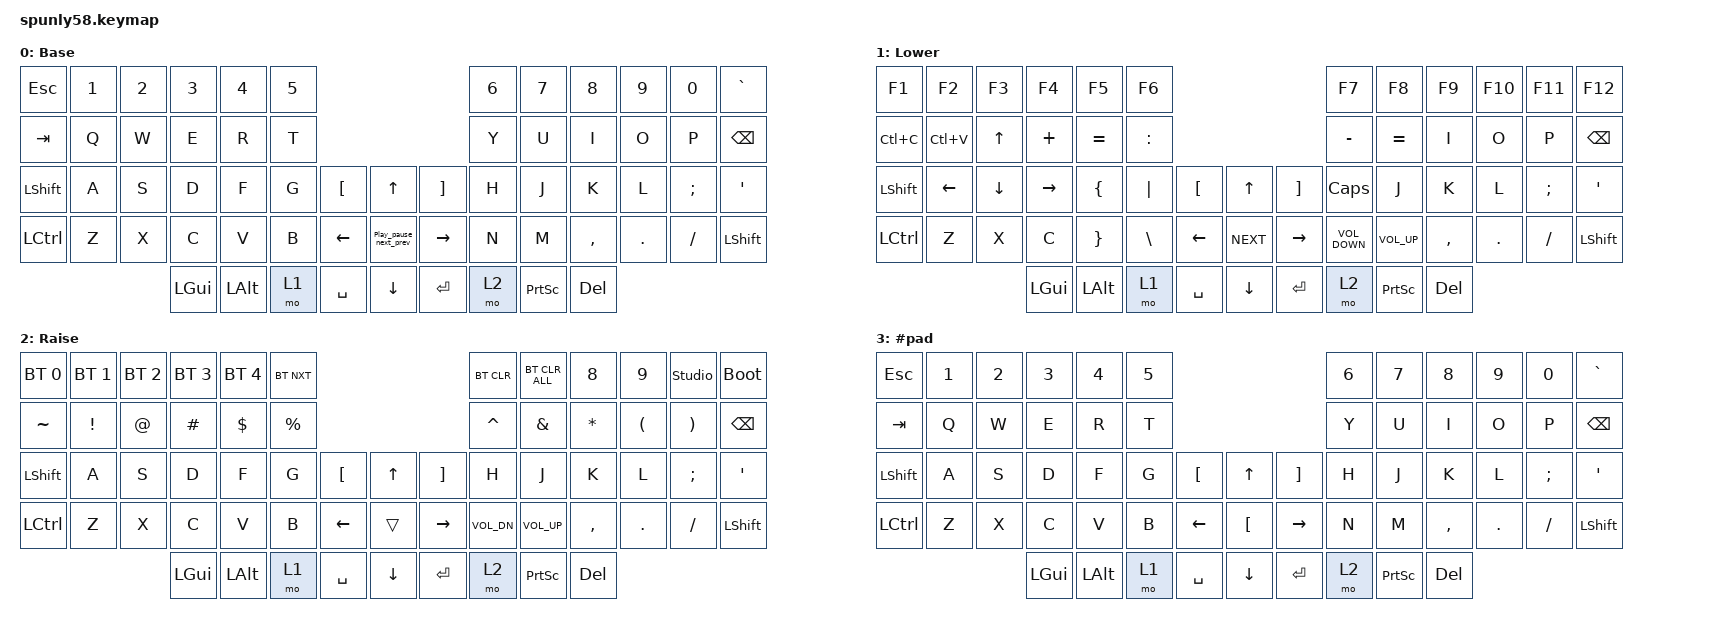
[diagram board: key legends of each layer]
/*
 * Copyright (c) 2020 The ZMK Contributors
 *
 * SPDX-License-Identifier: MIT
 */

#include <behaviors.dtsi>
#include <dt-bindings/zmk/bt.h>
#include <dt-bindings/zmk/keys.h>

#define DEFAULT 0
#define LOWER   1
#define RAISE   2
#define NUMPAD  3

/ {
    behaviors {
        Play_pause_next_prev: Play_pause_next_prev {
            compatible = "zmk,behavior-tap-dance";
            label = "PLAY_PAUSE_NEXT_PREV";
            #binding-cells = <0>;
            bindings = <&kp C_PLAY_PAUSE>, <&kp C_NEXT>, <&kp C_PREV>;
        };
    };

    keymap {
        compatible = "zmk,keymap";

        default_layer {
            label = "Base";

            // ------------------------------------------------------------------------------------------------------------
            // |  ESC   |  1  |  2  |  3   |  4   |  5   |                        |  6   |  7    |  8    |  9   |   0   |   `   |
            // |  TAB   |  Q  |  W  |  E   |  R   |  T   |                        |  Y   |  U    |  I    |  O   |   P   | BSPC  |
            // |  LSHFT |  A  |  S  |  D   |  F   |  G   | "["  |  UP   |  "]"    |  H   |  J    |  K    |  L   |   ;   |   '   |
            // |  CTRL  |  Z  |  X  |  C   |  V   |  B   | LEFT |  PP   | RGHT    |  N   |  M    |  ,    |  .   |   /   | LSHFT |
            //                    | GUI  | ALT  | LOWER|  SPACE | DOWN  | ENT | RAISE| PSCRN |  DEL   |

            bindings = <
&kp ESC    &kp N1  &kp N2  &kp N3    &kp N4    &kp N5                                               &kp N6  &kp N7     &kp N8     &kp N9   &kp N0    &kp GRAVE
&kp TAB    &kp Q   &kp W   &kp E     &kp R     &kp T                                                &kp Y   &kp U      &kp I      &kp O    &kp P     &kp BSPC
&kp LSHFT  &kp A   &kp S   &kp D     &kp F     &kp G   &kp LBKT   &kp UP                 &kp RBKT   &kp H   &kp J      &kp K      &kp L    &kp SEMI  &kp SQT
&kp LCTRL  &kp Z   &kp X   &kp C     &kp V     &kp B   &kp LEFT   &Play_pause_next_prev  &kp RIGHT  &kp N   &kp M      &kp COMMA  &kp DOT  &kp FSLH  &kp LSHFT
                           &kp LGUI  &kp LALT  &mo 1   &kp SPACE  &kp DOWN               &kp ENTER  &mo 2   &kp PSCRN  &kp DEL
            >;
        };

        lower_layer {
            label = "Lower";

            // ------------------------------------------------------------------------------------------------------------
            // |  F1   |  F2  |  F3  |  F4   |  F5   |  F6   |                    |  F7   |  F8    |  F9    |  D10   |   F11   |   F12   |
            // |  TAB   |  Q  |  W  |  E   |  R   |  T   |                        |  Y   |  U    |  I    |  O   |   P   | BSPC  |
            // |  LSHFT |  A  |  S  |  D   |  F   |  G   | "["  |  UP   |  "]"    |  H   |  J    |  K    |  L   |   ;   |   '   |
            // |  CTRL  |  Z  |  X  |  C   |  V   |  B   | LEFT |  PP   | RGHT   |  N   |  M    |  ,    |  .   |   /   | LSHFT |
            //                   | GUI  | ALT  | LOWER|  SPACE | DOWN  | ENT | RAISE| PSCRN |  DEL   |

            bindings = <
&kp F1     &kp F2     &kp F3        &kp F4     &kp F5           &kp F6                                           &kp F7             &kp F8           &kp F9     &kp F10  &kp F11   &kp F12
&kp LC(C)  &kp LC(V)  &kp UP_ARROW  &kp PLUS   &kp EQUAL        &kp COLON                                        &kp MINUS          &kp EQUAL        &kp I      &kp O    &kp P     &kp BSPC
&kp LSHFT  &kp LEFT   &kp DOWN      &kp RIGHT  &kp LEFT_BRACE   &kp PIPE       &kp LBKT   &kp UP      &kp RBKT   &kp CAPSLOCK       &kp J            &kp K      &kp L    &kp SEMI  &kp SQT
&kp LCTRL  &kp Z      &kp X         &kp C      &kp RIGHT_BRACE  &kp BACKSLASH  &kp LEFT   &kp K_NEXT  &kp RIGHT  &kp C_VOLUME_DOWN  &kp C_VOLUME_UP  &kp COMMA  &kp DOT  &kp FSLH  &kp LSHFT
                                    &kp LGUI   &kp LALT         &mo 1          &kp SPACE  &kp DOWN    &kp ENTER  &mo 2              &kp PSCRN        &kp DEL
            >;
        };

        raise_layer {
            label = "Raise";

            // ------------------------------------------------------------------------------------------------------------
            // |  ESC   |  1  |  2  |  3   |  4   |  5   |                        |  6   |  7    |  8    |  9   |   0   |   `   |
            // |  TAB   |  Q  |  W  |  E   |  R   |  T   |                        |  Y   |  U    |  I    |  O   |   P   |  BSPC |
            // |  LSHFT |  A  |  S  |  D   |  F   |  G   | "["  |  UP   |  "]"    |  H   |  J    |  K    |  L   |   ;   |   '   |
            // |  CTRL  |  Z  |  X  |  C   |  V   |  B   | LEFT |  PP   | RGHT   |  N   |  M    |  ,    |  .   |   /   | LSHFT |
            //                    | GUI  | ALT  | LOWER|  SPACE | DOWN  | ENT | RAISE| PSCRN |  DEL   |

            bindings = <
&bt BT_SEL 0  &bt BT_SEL 1     &bt BT_SEL 2  &bt BT_SEL 3  &bt BT_SEL 4  &bt BT_NXT                                   &bt BT_CLR    &bt BT_CLR_ALL  &kp N8        &kp N9                &studio_unlock         &bootloader
&kp TILDE     &kp EXCLAMATION  &kp AT_SIGN   &kp HASH      &kp DOLLAR    &kp PERCENT                                  &kp CARET     &kp AMPERSAND   &kp ASTERISK  &kp LEFT_PARENTHESIS  &kp RIGHT_PARENTHESIS  &kp BSPC
&kp LSHFT     &kp A            &kp S         &kp D         &kp F         &kp G        &kp LBKT   &kp UP    &kp RBKT   &kp H         &kp J           &kp K         &kp L                 &kp SEMI               &kp SQT
&kp LCTRL     &kp Z            &kp X         &kp C         &kp V         &kp B        &kp LEFT   &trans    &kp RIGHT  &kp C_VOL_DN  &kp C_VOL_UP    &kp COMMA     &kp DOT               &kp FSLH               &kp LSHFT
                                             &kp LGUI      &kp LALT      &mo 1        &kp SPACE  &kp DOWN  &kp ENTER  &mo 2         &kp PSCRN       &kp DEL
            >;
        };

        adjust_layer {
            label = "#pad";

            // ------------------------------------------------------------------------------------------------------------
            // |  ESC   |  1  |  2  |  3   |  4   |  5   |                        |  6   |  7    |  8    |  9   |   0   |   `   |
            // |  TAB   |  Q  |  W  |  E   |  R   |  T   |                        |  Y   |  U    |  I    |  O   |   P   |  BSPC |
            // |  LSHFT |  A  |  S  |  D   |  F   |  G   | "["  |  UP   |  "]"    |  H   |  J    |  K    |  L   |   ;   |   '   |
            // |  CTRL  |  Z  |  X  |  C   |  V   |  B   | LEFT |  PP   | RGHT   |  N   |  M    |  ,    |  .   |   /   | LSHFT |
            //                    | GUI  | ALT  | LOWER|  SPACE | DOWN  | ENT | RAISE| PSCRN |  DEL   |

            bindings = <
&kp ESC    &kp N1  &kp N2  &kp N3    &kp N4    &kp N5                                  &kp N6  &kp N7     &kp N8     &kp N9   &kp N0    &kp GRAVE
&kp TAB    &kp Q   &kp W   &kp E     &kp R     &kp T                                   &kp Y   &kp U      &kp I      &kp O    &kp P     &kp BSPC
&kp LSHFT  &kp A   &kp S   &kp D     &kp F     &kp G   &kp LBKT   &kp UP    &kp RBKT   &kp H   &kp J      &kp K      &kp L    &kp SEMI  &kp SQT
&kp LCTRL  &kp Z   &kp X   &kp C     &kp V     &kp B   &kp LEFT   &kp LBKT  &kp RIGHT  &kp N   &kp M      &kp COMMA  &kp DOT  &kp FSLH  &kp LSHFT
                           &kp LGUI  &kp LALT  &mo 1   &kp SPACE  &kp DOWN  &kp ENTER  &mo 2   &kp PSCRN  &kp DEL
            >;
        };
    };
};
